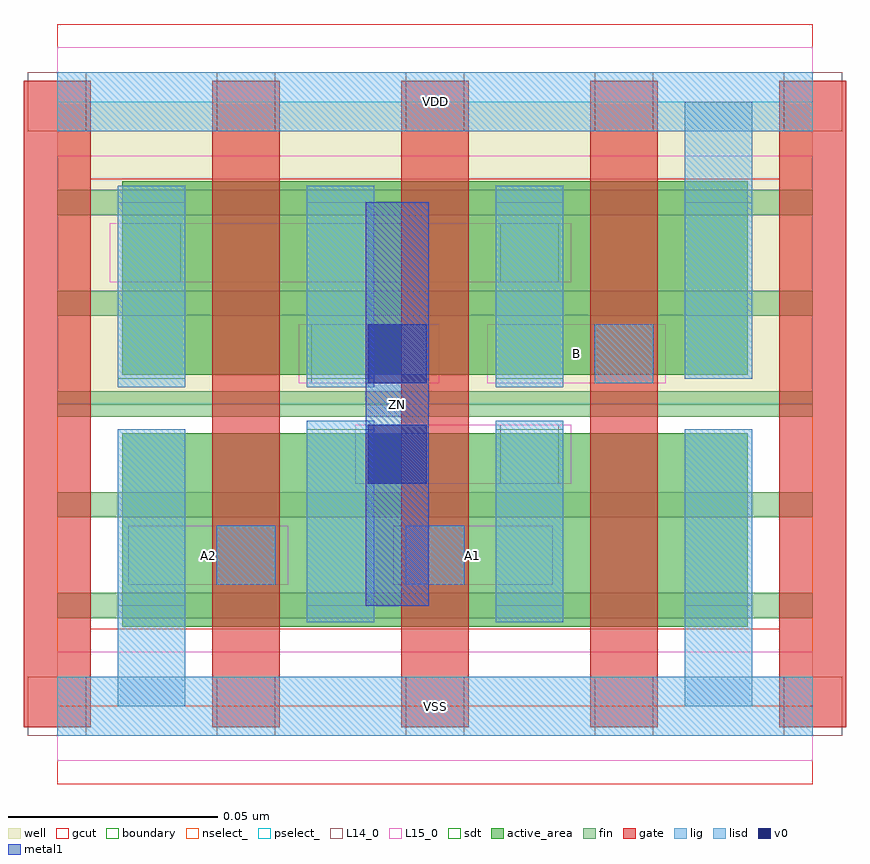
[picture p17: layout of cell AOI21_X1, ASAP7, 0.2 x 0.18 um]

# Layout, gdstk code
import gdstk
lib = gdstk.Library(unit=1e-6, precision=2.5e-10)
def R(c, l, rs):  # rectangles x0, y0, x1, y1
    for r in rs: c.add(gdstk.rectangle(r[:2], r[2:], *l))
def A(c, l, x, y, w, h, nx, ny, dx, dy):  # array of equal rectangles
    R(c, l, [(x+i*dx, y+j*dy, x+i*dx+w, y+j*dy+h) for i in range(nx) for j in range(ny)])
well = (1, 0)
fin = (2, 0)
gate = (7, 0)
gcut = (10, 0)
active_area = (11, 0)
nselect_ = (12, 0)
pselect_ = (13, 0)
L14_0 = (14, 0)
L15_0 = (15, 0)
lig = (16, 0)
lisd = (17, 0)
v0 = (18, 0)
metal1 = (19, 0)
sdt = (88, 0)
boundary = (100, 0)

aoi21_x1 = lib.new_cell('AOI21_X1')
R(aoi21_x1, well, [(0,0.072,0.18,0.144)])
A(aoi21_x1, fin, 0, 0.021, 0.18, 0.006, 1, 5, 0, 0.024)
A(aoi21_x1, gate, -0.008, -0.005, 0.016, 0.154, 5, 1, 0.045, 0)
R(aoi21_x1, gcut, [(0,-0.0185,0.18,0.0185), (-0.008,-0.005,0.008,0.149), (0.172,-0.005,0.188,0.149), (0,0.1255,0.18,0.1625)])
A(aoi21_x1, active_area, 0.0155, 0.019, 0.059, 0.046, 3, 2, 0.045, 0.06)
R(aoi21_x1, nselect_, [(0,0,0.18,0.072)])
R(aoi21_x1, pselect_, [(0,0.072,0.18,0.144)])
A(aoi21_x1, L14_0, -0.007, -0.007, 0.014, 0.014, 5, 2, 0.045, 0.144)
R(aoi21_x1, L14_0, [(0.038,0.029,0.052,0.043), (0.083,0.029,0.097,0.043), (0.1055,0.053,0.1195,0.067), (0.0605,0.077,0.0745,0.091), (0.128,0.077,0.142,0.091), (0.0155,0.101,0.0295,0.115), (0.1055,0.101,0.1195,0.115)])
R(aoi21_x1, L15_0, [(0,-0.013,0.18,0.013), (0.017,0.029,0.055,0.043), (0.08,0.029,0.118,0.043), (0.071,0.053,0.1225,0.067), (0.0575,0.077,0.091,0.091), (0.1025,0.077,0.145,0.091), (0.0125,0.101,0.1225,0.115), (0,0.131,0.18,0.157)])
R(aoi21_x1, lig, [(0,-0.007,0.18,0.007), (0.038,0.029,0.052,0.043), (0.083,0.029,0.097,0.043), (0.128,0.077,0.142,0.091), (0,0.137,0.18,0.151)])
R(aoi21_x1, lisd, [(0.0145,0,0.0305,0.066), (0.1495,0,0.1655,0.066), (0.0595,0.02,0.0755,0.068), (0.0595,0.02,0.0755,0.068), (0.1045,0.02,0.1205,0.068), (0.1045,0.02,0.1205,0.068), (0.0145,0.076,0.0305,0.124), (0.0595,0.076,0.0755,0.124), (0.0595,0.076,0.0755,0.124), (0.1045,0.076,0.1205,0.124), (0.1045,0.076,0.1205,0.124), (0.1495,0.078,0.1655,0.144)])
R(aoi21_x1, v0, [(0.074,0.053,0.088,0.067), (0.074,0.077,0.088,0.091)])
R(aoi21_x1, metal1, [(0.0735,0.024,0.0885,0.12)])
R(aoi21_x1, sdt, [(0.0145,0.024,0.0305,0.066), (0.0595,0.024,0.0755,0.066), (0.0595,0.024,0.0755,0.066), (0.1045,0.024,0.1205,0.066), (0.1045,0.024,0.1205,0.066), (0.1495,0.024,0.1655,0.066), (0.0145,0.078,0.0305,0.12), (0.0595,0.078,0.0755,0.12), (0.0595,0.078,0.0755,0.12), (0.1045,0.078,0.1205,0.12), (0.1045,0.078,0.1205,0.12), (0.1495,0.078,0.1655,0.12)])
R(aoi21_x1, boundary, [(0,0,0.18,0.144)])
aoi21_x1.add(gdstk.Label('VDD', (0.09,0.144), layer=1, texttype=251))
aoi21_x1.add(gdstk.Label('VSS', (0.09,0), layer=3, texttype=251))
aoi21_x1.add(gdstk.Label('A2', (0.036,0.036), layer=15, texttype=251))
aoi21_x1.add(gdstk.Label('A1', (0.099,0.036), layer=15, texttype=251))
aoi21_x1.add(gdstk.Label('B', (0.1237,0.084), layer=15, texttype=251))
aoi21_x1.add(gdstk.Label('VSS', (0.09,0), layer=15, texttype=251))
aoi21_x1.add(gdstk.Label('VDD', (0.09,0.144), layer=15, texttype=251))
aoi21_x1.add(gdstk.Label('ZN', (0.081,0.072), layer=19, texttype=251))

lib.write_gds('AOI21_X1.gds')
